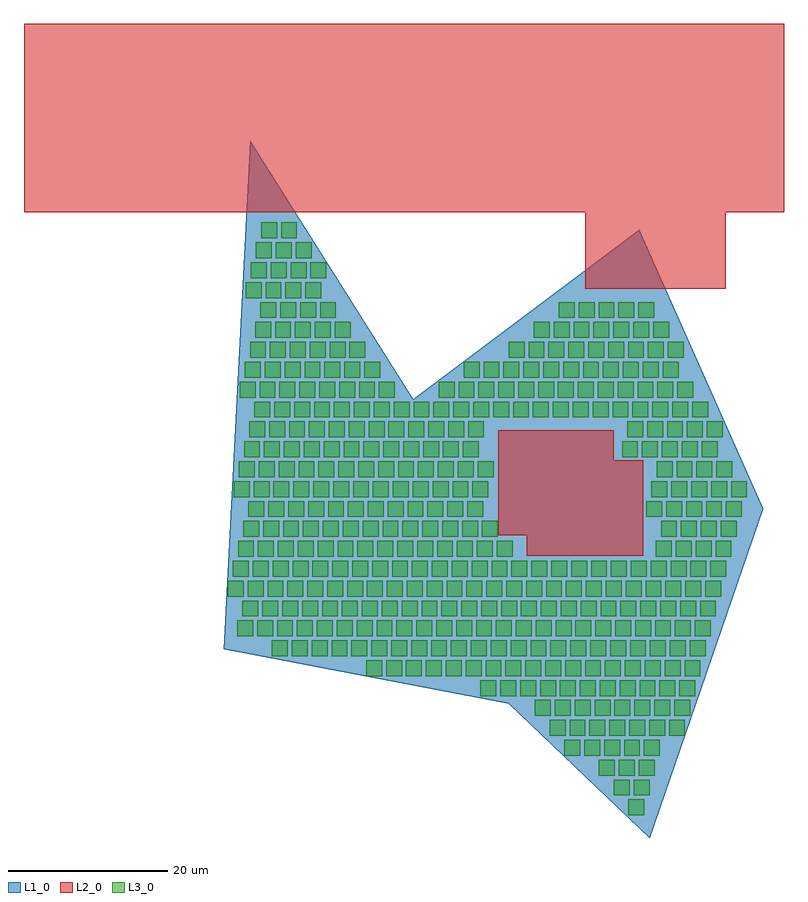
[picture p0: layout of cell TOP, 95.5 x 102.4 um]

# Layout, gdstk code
import gdstk
lib = gdstk.Library(unit=1e-6, precision=1e-09)
def R(c, l, rs):  # rectangles x0, y0, x1, y1
    for r in rs: c.add(gdstk.rectangle(r[:2], r[2:], *l))
def P(c, l, *ps):  # polygons
    for p in ps: c.add(gdstk.Polygon(p, *l))
L1_0 = (1, 0)
L2_0 = (2, 0)
L3_0 = (3, 0)

fill_cell = lib.new_cell('FILL_CELL')
R(fill_cell, L3_0, [(0,0,2,2)])

top = lib.new_cell('TOP')
P(top, L1_0, [(51.8,-25.4),(34.1,-8.5),(-1.7,-1.6),(1.6,62.3),(22.1,29.8),(50.5,51.1),(66.1,16)])
R(top, L2_0, [(36.4,10.1,51,22.1), (32.8,12.7,47.3,25.9), (43.7,43.7,61.4,56.5), (-26.8,53.3,68.7,77)])
r = gdstk.Reference(fill_cell, (16.2,-5)); r.repetition = gdstk.Repetition(17, 1, v1=(2.5,0), v2=(0,0)); top.add(r)
r = gdstk.Reference(fill_cell, (4.35,-2.5)); r.repetition = gdstk.Repetition(22, 1, v1=(2.5,0), v2=(0,0)); top.add(r)
r = gdstk.Reference(fill_cell, (47.3,-20)); r.repetition = gdstk.Repetition(2, 1, v1=(2.5,0), v2=(0,0)); top.add(r)
r = gdstk.Reference(fill_cell, (3,50)); r.repetition = gdstk.Repetition(2, 1, v1=(2.5,0), v2=(0,0)); top.add(r)
r = gdstk.Reference(fill_cell, (0.1,10)); r.repetition = gdstk.Repetition(14, 1, v1=(2.5,0), v2=(0,0)); top.add(r)
r = gdstk.Reference(fill_cell, (0,0)); r.repetition = gdstk.Repetition(24, 1, v1=(2.5,0), v2=(0,0)); top.add(r)
r = gdstk.Reference(fill_cell, (0.65,2.5)); r.repetition = gdstk.Repetition(24, 1, v1=(2.5,0), v2=(0,0)); top.add(r)
r = gdstk.Reference(fill_cell, (52.6,10)); r.repetition = gdstk.Repetition(4, 1, v1=(2.5,0), v2=(0,0)); top.add(r)
r = gdstk.Reference(fill_cell, (53.25,12.5)); r.repetition = gdstk.Repetition(4, 1, v1=(2.5,0), v2=(0,0)); top.add(r)
r = gdstk.Reference(fill_cell, (52.7,20)); r.repetition = gdstk.Repetition(4, 1, v1=(2.5,0), v2=(0,0)); top.add(r)
r = gdstk.Reference(fill_cell, (2.9,40)); r.repetition = gdstk.Repetition(4, 1, v1=(2.5,0), v2=(0,0)); top.add(r)
r = gdstk.Reference(fill_cell, (1.05,42.5)); r.repetition = gdstk.Repetition(4, 1, v1=(2.5,0), v2=(0,0)); top.add(r)
r = gdstk.Reference(fill_cell, (1.7,45)); r.repetition = gdstk.Repetition(4, 1, v1=(2.5,0), v2=(0,0)); top.add(r)
r = gdstk.Reference(fill_cell, (0.75,12.5)); r.repetition = gdstk.Repetition(13, 1, v1=(2.5,0), v2=(0,0)); top.add(r)
r = gdstk.Reference(fill_cell, (-0.45,17.5)); r.repetition = gdstk.Repetition(13, 1, v1=(2.5,0), v2=(0,0)); top.add(r)
r = gdstk.Reference(fill_cell, (0.2,20)); r.repetition = gdstk.Repetition(13, 1, v1=(2.5,0), v2=(0,0)); top.add(r)
r = gdstk.Reference(fill_cell, (25.3,30)); r.repetition = gdstk.Repetition(13, 1, v1=(2.5,0), v2=(0,0)); top.add(r)
r = gdstk.Reference(fill_cell, (1.4,15)); r.repetition = gdstk.Repetition(12, 1, v1=(2.5,0), v2=(0,0)); top.add(r)
r = gdstk.Reference(fill_cell, (0.85,22.5)); r.repetition = gdstk.Repetition(12, 1, v1=(2.5,0), v2=(0,0)); top.add(r)
r = gdstk.Reference(fill_cell, (1.5,25)); r.repetition = gdstk.Repetition(12, 1, v1=(2.5,0), v2=(0,0)); top.add(r)
r = gdstk.Reference(fill_cell, (45.45,-17.5)); r.repetition = gdstk.Repetition(3, 1, v1=(2.5,0), v2=(0,0)); top.add(r)
r = gdstk.Reference(fill_cell, (2.35,47.5)); r.repetition = gdstk.Repetition(3, 1, v1=(2.5,0), v2=(0,0)); top.add(r)
r = gdstk.Reference(fill_cell, (2.15,27.5)); r.repetition = gdstk.Repetition(23, 1, v1=(2.5,0), v2=(0,0)); top.add(r)
top.add(gdstk.Reference(fill_cell, (49.15,-22.5)))
r = gdstk.Reference(fill_cell, (-1.2,5)); r.repetition = gdstk.Repetition(25, 1, v1=(2.5,0), v2=(0,0)); top.add(r)
r = gdstk.Reference(fill_cell, (-0.55,7.5)); r.repetition = gdstk.Repetition(25, 1, v1=(2.5,0), v2=(0,0)); top.add(r)
r = gdstk.Reference(fill_cell, (41.1,-15)); r.repetition = gdstk.Repetition(5, 1, v1=(2.5,0), v2=(0,0)); top.add(r)
r = gdstk.Reference(fill_cell, (51.4,15)); r.repetition = gdstk.Repetition(5, 1, v1=(2.5,0), v2=(0,0)); top.add(r)
r = gdstk.Reference(fill_cell, (52.05,17.5)); r.repetition = gdstk.Repetition(5, 1, v1=(2.5,0), v2=(0,0)); top.add(r)
r = gdstk.Reference(fill_cell, (48.35,22.5)); r.repetition = gdstk.Repetition(5, 1, v1=(2.5,0), v2=(0,0)); top.add(r)
r = gdstk.Reference(fill_cell, (49,25)); r.repetition = gdstk.Repetition(5, 1, v1=(2.5,0), v2=(0,0)); top.add(r)
r = gdstk.Reference(fill_cell, (2.25,37.5)); r.repetition = gdstk.Repetition(5, 1, v1=(2.5,0), v2=(0,0)); top.add(r)
r = gdstk.Reference(fill_cell, (40.4,40)); r.repetition = gdstk.Repetition(5, 1, v1=(2.5,0), v2=(0,0)); top.add(r)
r = gdstk.Reference(fill_cell, (37.4,-10)); r.repetition = gdstk.Repetition(8, 1, v1=(2.5,0), v2=(0,0)); top.add(r)
r = gdstk.Reference(fill_cell, (0.3,30)); r.repetition = gdstk.Repetition(8, 1, v1=(2.5,0), v2=(0,0)); top.add(r)
r = gdstk.Reference(fill_cell, (39.25,-12.5)); r.repetition = gdstk.Repetition(7, 1, v1=(2.5,0), v2=(0,0)); top.add(r)
r = gdstk.Reference(fill_cell, (0.95,32.5)); r.repetition = gdstk.Repetition(7, 1, v1=(2.5,0), v2=(0,0)); top.add(r)
r = gdstk.Reference(fill_cell, (37.25,37.5)); r.repetition = gdstk.Repetition(7, 1, v1=(2.5,0), v2=(0,0)); top.add(r)
r = gdstk.Reference(fill_cell, (30.55,-7.5)); r.repetition = gdstk.Repetition(11, 1, v1=(2.5,0), v2=(0,0)); top.add(r)
r = gdstk.Reference(fill_cell, (28.45,32.5)); r.repetition = gdstk.Repetition(11, 1, v1=(2.5,0), v2=(0,0)); top.add(r)
r = gdstk.Reference(fill_cell, (1.6,35)); r.repetition = gdstk.Repetition(6, 1, v1=(2.5,0), v2=(0,0)); top.add(r)
r = gdstk.Reference(fill_cell, (34.1,35)); r.repetition = gdstk.Repetition(9, 1, v1=(2.5,0), v2=(0,0)); top.add(r)

lib.write_gds('TOP.gds')
